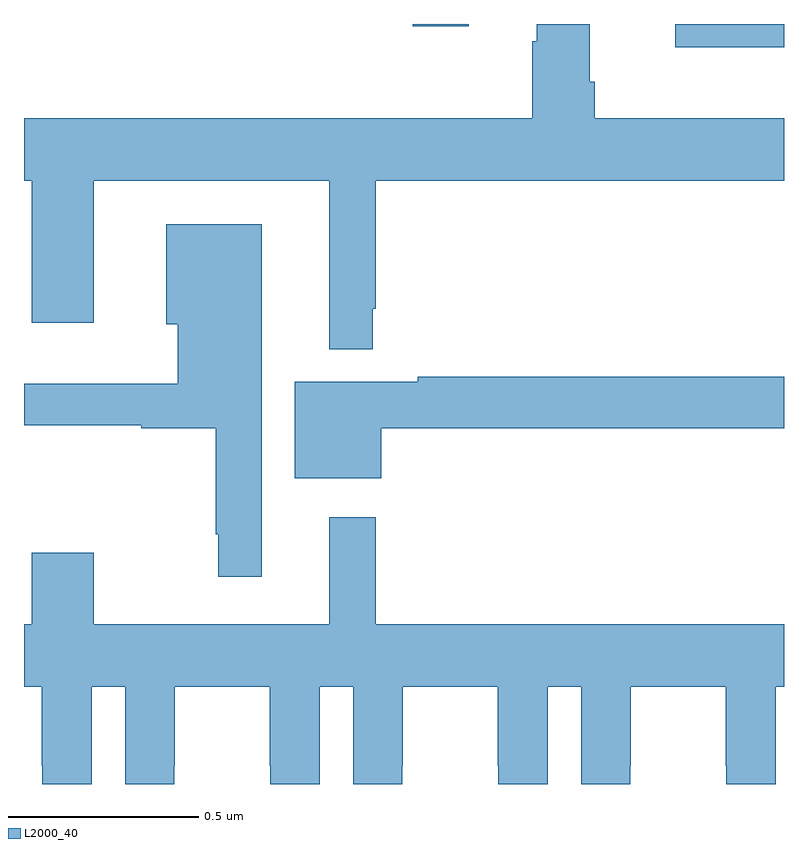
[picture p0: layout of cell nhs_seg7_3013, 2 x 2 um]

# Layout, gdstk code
import gdstk
lib = gdstk.Library(unit=1e-6, precision=1e-09)
def R(c, l, rs):  # rectangles x0, y0, x1, y1
    for r in rs: c.add(gdstk.rectangle(r[:2], r[2:], *l))
def P(c, l, *ps):  # polygons
    for p in ps: c.add(gdstk.Polygon(p, *l))
L2000_40 = (2000, 40)

nhs_seg7_3013 = lib.new_cell('nhs_seg7_3013')
R(nhs_seg7_3013, L2000_40, [(154.714,1028.939,155,1029), (154.023,1028.994,154.171,1029)])
P(nhs_seg7_3013, L2000_40, [(153.918,1028.251),(153.925,1028.251),(153.925,1028.588),(155,1028.588),(155,1028.752),(154.502,1028.752),(154.502,1028.848),(154.489,1028.848),(154.489,1029),(154.349,1029),(154.349,1028.954),(154.337,1028.954),(154.337,1028.752),(153,1028.752),(153,1028.588),(153.02,1028.588),(153.02,1028.214),(153.184,1028.214),(153.184,1028.588),(153.803,1028.588),(153.803,1028.144),(153.918,1028.144)],
  [(153.625,1028.473),(153.374,1028.473),(153.374,1028.21),(153.404,1028.21),(153.404,1028.053),(153,1028.053),(153,1027.944),(153.308,1027.944),(153.308,1027.936),(153.504,1027.936),(153.504,1027.657),(153.511,1027.657),(153.511,1027.545),(153.625,1027.545)],
  [(153.94,1027.936),(155,1027.936),(155,1028.072),(154.036,1028.072),(154.036,1028.059),(153.713,1028.059),(153.713,1027.805),(153.94,1027.805)],
  [(153.178,1027.256),(153.266,1027.256),(153.266,1027),(153.396,1027),(153.396,1027.048),(153.397,1027.048),(153.397,1027.256),(153.647,1027.256),(153.647,1027.048),(153.648,1027.048),(153.648,1027),(153.778,1027),(153.778,1027.256),(153.866,1027.256),(153.866,1027),(153.996,1027),(153.996,1027.048),(153.997,1027.048),(153.997,1027.256),(154.247,1027.256),(154.247,1027.048),(154.248,1027.048),(154.248,1027),(154.378,1027),(154.378,1027.256),(154.466,1027.256),(154.466,1027),(154.596,1027),(154.596,1027.048),(154.597,1027.048),(154.597,1027.256),(154.847,1027.256),(154.847,1027.048),(154.848,1027.048),(154.848,1027),(154.978,1027),(154.978,1027.256),(155,1027.256),(155,1027.42),(153.925,1027.42),(153.925,1027.702),(153.803,1027.702),(153.803,1027.42),(153.184,1027.42),(153.184,1027.609),(153.02,1027.609),(153.02,1027.42),(153,1027.42),(153,1027.256),(153.047,1027.256),(153.047,1027.048),(153.048,1027.048),(153.048,1027),(153.178,1027)])

lib.write_gds('nhs_seg7_3013.gds')
